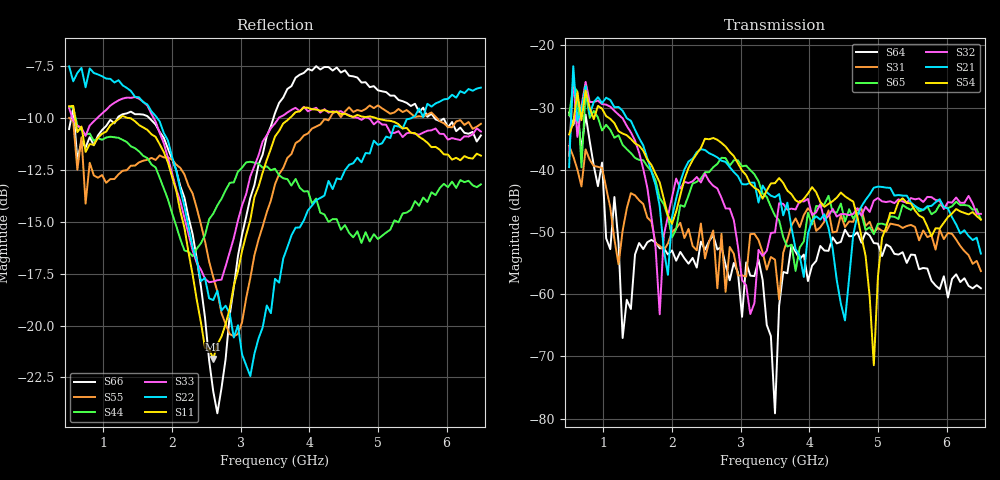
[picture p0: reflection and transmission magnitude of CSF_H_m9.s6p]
!Keysight Technologies,M9804A,MY58100912,A.14.10.03
!Date: Thursday, April 27, 2023 10:28:33
!Correction: S11(C  6-Port  )
!S12(C  6-Port  )
!S13(C  6-Port  )
!S14(C  6-Port  )
!S15(C  6-Port  )
!S16(C  6-Port  )
!S21(C  6-Port  )
!S22(C  6-Port  )
!S23(C  6-Port  )
!S24(C  6-Port  )
!S25(C  6-Port  )
!S26(C  6-Port  )
!S31(C  6-Port  )
!S32(C  6-Port  )
!S33(C  6-Port  )
!S34(C  6-Port  )
!S35(C  6-Port  )
!S36(C  6-Port  )
!S41(C  6-Port  )
!S42(C  6-Port  )
!S43(C  6-Port  )
!S44(C  6-Port  )
!S45(C  6-Port  )
!S46(C  6-Port  )
!S51(C  6-Port  )
!S52(C  6-Port  )
!S53(C  6-Port  )
!S54(C  6-Port  )
!S55(C  6-Port  )
!S56(C  6-Port  )
!S61(C  6-Port  )
!S62(C  6-Port  )
!S63(C  6-Port  )
!S64(C  6-Port  )
!S65(C  6-Port  )
!S66(C  6-Port  )
!S6P File: Measurement: :
# Hz S  RI  R 50
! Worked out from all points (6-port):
!   101 points, 500 MHz to 6.5 GHz, reference 50 ohm
!   strongest paths, dB at 500 MHz, 2 GHz, 3.5 GHz, 5 GHz, 6.5 GHz:
!     S54: -34.3, -48.7, -42.2, -57.1, -48.0
!     S21: -39.6, -47.6, -44.4, -42.7, -53.5
!     S32: -37.7, -44.4, -50.1, -44.5, -47.1
!     S65: -31.2, -50.9, -47.4, -48.7, -48.0
!     S31: -36.1, -50.0, -54.4, -49.4, -56.3
!     S64: -30.8, -53.0, -79.2, -51.9, -59.1
!   lowest |S11| = -21.6 dB at 2.6 GHz (marker M1), VSWR 1.18, Z = 42.6 + j2.01 ohm
!   |S11| at or under -10 dB: 588 MHz to 1.239 GHz (650.8 MHz wide, 71.2 % of centre); 1.382 GHz to 3.715 GHz (2.333 GHz wide, 91.6 % of centre); 4.971 GHz to end of sweep
